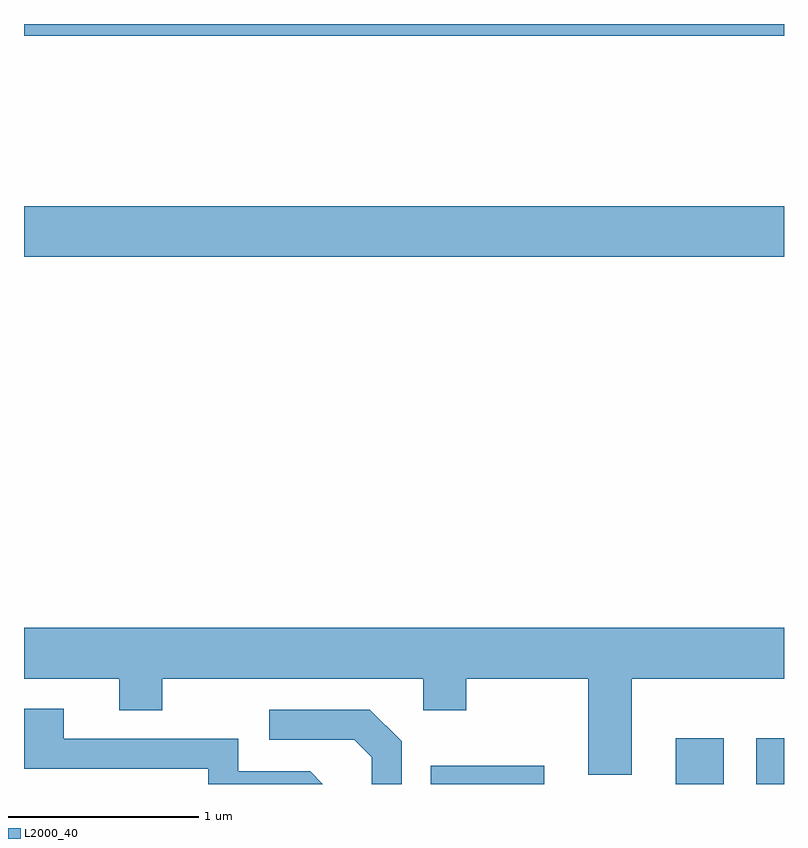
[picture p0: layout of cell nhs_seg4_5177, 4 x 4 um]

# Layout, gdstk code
import gdstk
lib = gdstk.Library(unit=1e-6, precision=1e-09)
def R(c, l, rs):  # rectangles x0, y0, x1, y1
    for r in rs: c.add(gdstk.rectangle(r[:2], r[2:], *l))
def P(c, l, *ps):  # polygons
    for p in ps: c.add(gdstk.Polygon(p, *l))
L2000_40 = (2000, 40)

nhs_seg4_5177 = lib.new_cell('nhs_seg4_5177')
R(nhs_seg4_5177, L2000_40, [(339.751,1271.982,340.349,1272.079), (341.041,1271.982,341.294,1272.224), (341.466,1271.982,341.611,1272.224), (337.611,1274.756,341.611,1275.024), (337.611,1275.921,341.611,1275.982)])
P(nhs_seg4_5177, L2000_40, [(340.809,1272.536),(341.611,1272.536),(341.611,1272.804),(337.611,1272.804),(337.611,1272.536),(338.111,1272.536),(338.111,1272.371),(338.339,1272.371),(338.339,1272.536),(339.711,1272.536),(339.711,1272.371),(339.939,1272.371),(339.939,1272.536),(340.581,1272.536),(340.581,1272.031),(340.809,1272.031)],
  [(339.117,1272.049),(338.739,1272.049),(338.739,1272.219),(337.819,1272.219),(337.819,1272.379),(337.611,1272.379),(337.611,1272.061),(338.581,1272.061),(338.581,1271.982),(339.184,1271.982)],
  [(339.599,1272.207),(339.432,1272.374),(338.903,1272.374),(338.903,1272.216),(339.349,1272.216),(339.441,1272.124),(339.441,1271.982),(339.599,1271.982)])

lib.write_gds('nhs_seg4_5177.gds')
